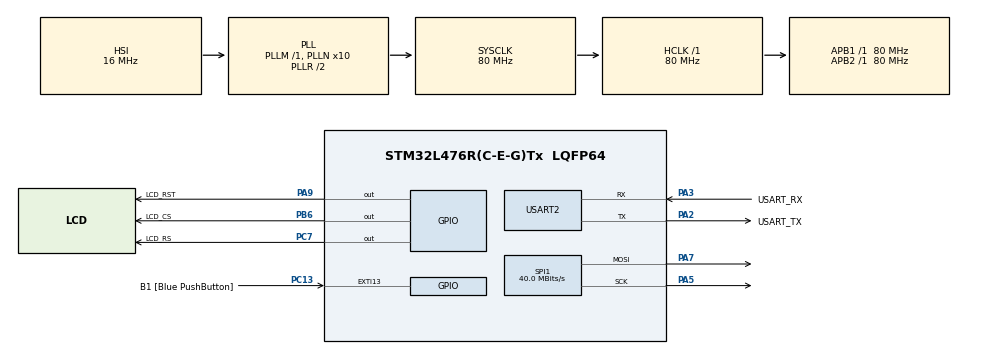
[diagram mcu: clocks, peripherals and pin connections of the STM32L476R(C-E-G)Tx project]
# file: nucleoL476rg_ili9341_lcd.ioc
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Mcu.Family=STM32L4
Mcu.Name=STM32L476R(C-E-G)Tx
Mcu.Package=LQFP64
NVIC.PriorityGroup=NVIC_PRIORITYGROUP_4
NVIC.SPI1_IRQn=true\:0\:0\:false\:false\:true\:true\:true\:true
PA13\ (JTMS-SWDIO).GPIO_Label=TMS
PA13\ (JTMS-SWDIO).Mode=Serial_Wire
PA13\ (JTMS-SWDIO).Signal=SYS_JTMS-SWDIO
PA14\ (JTCK-SWCLK).GPIO_Label=TCK
PA14\ (JTCK-SWCLK).Mode=Serial_Wire
PA14\ (JTCK-SWCLK).Signal=SYS_JTCK-SWCLK
PA2.GPIO_Label=USART_TX
PA2.GPIO_Mode=GPIO_MODE_AF_PP
PA2.GPIO_PuPd=GPIO_NOPULL
PA2.GPIO_Speed=GPIO_SPEED_FREQ_VERY_HIGH
PA2.Mode=Asynchronous
PA2.Signal=USART2_TX
PA3.GPIO_Label=USART_RX
PA3.GPIO_Mode=GPIO_MODE_AF_PP
PA3.GPIO_PuPd=GPIO_NOPULL
PA3.GPIO_Speed=GPIO_SPEED_FREQ_VERY_HIGH
PA3.Mode=Asynchronous
PA3.Signal=USART2_RX
PA5.Mode=TX_Only_Simplex_Unidirect_Master
PA5.Signal=SPI1_SCK
PA7.Mode=TX_Only_Simplex_Unidirect_Master
PA7.Signal=SPI1_MOSI
PA9.GPIO_Label=LCD_RST
PA9.GPIO_PuPd=GPIO_PULLUP
PA9.Signal=GPIO_Output
PB3\ (JTDO-TRACESWO).GPIO_Label=SWO
PB3\ (JTDO-TRACESWO).Signal=SYS_JTDO-SWO
PB6.GPIO_Label=LCD_CS
PB6.GPIO_PuPd=GPIO_PULLUP
PB6.Signal=GPIO_Output
PC13.GPIO_Label=B1 [Blue PushButton]
PC13.GPIO_ModeDefaultEXTI=GPIO_MODE_IT_FALLING
PC13.GPIO_PuPd=GPIO_NOPULL
PC13.Signal=GPXTI13
PC14-OSC32_IN\ (PC14).Mode=LSE-External-Oscillator
PC14-OSC32_IN\ (PC14).Signal=RCC_OSC32_IN
PC15-OSC32_OUT\ (PC15).Mode=LSE-External-Oscillator
PC15-OSC32_OUT\ (PC15).Signal=RCC_OSC32_OUT
PC7.GPIO_Label=LCD_RS
PC7.GPIO_PuPd=GPIO_PULLUP
PC7.Signal=GPIO_Output
PH0-OSC_IN\ (PH0).Signal=RCC_OSC_IN
PH1-OSC_OUT\ (PH1).Signal=RCC_OSC_OUT
ProjectManager.HeapSize=0x200
ProjectManager.StackSize=0x400
ProjectManager.TargetToolchain=STM32CubeIDE
RCC.ADCFreq_Value=64000000
RCC.AHBFreq_Value=80000000
RCC.APB1Freq_Value=80000000
RCC.APB1TimFreq_Value=80000000
RCC.APB2Freq_Value=80000000
RCC.APB2TimFreq_Value=80000000
RCC.CortexFreq_Value=80000000
RCC.HCLKFreq_Value=80000000
RCC.HSE_VALUE=8000000
RCC.HSI_VALUE=16000000
RCC.MSI_VALUE=4000000
RCC.PLLN=10
RCC.PLLSourceVirtual=RCC_PLLSOURCE_HSI
RCC.PREFETCH_ENABLE=1
RCC.SYSCLKFreq_VALUE=80000000
RCC.SYSCLKSource=RCC_SYSCLKSOURCE_PLLCLK
RCC.USBFreq_Value=64000000
RCC.VCOOutputFreq_Value=160000000
SPI1.BaudRatePrescaler=SPI_BAUDRATEPRESCALER_2
SPI1.CalculateBaudRate=40.0 MBits/s
SPI1.DataSize=SPI_DATASIZE_8BIT
SPI1.Direction=SPI_DIRECTION_2LINES
SPI1.Mode=SPI_MODE_MASTER
SPI1.NSSPMode=SPI_NSS_PULSE_ENABLE
SPI1.VirtualType=VM_MASTER
USART2.VirtualMode-Asynchronous=VM_ASYNC
board=NUCLEO-L476RG

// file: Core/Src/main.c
/* USER CODE BEGIN Header */
/**
  ******************************************************************************
  * @file           : main.c
  * @brief          : Main program body
  ******************************************************************************
  * @attention
  *
  * Copyright (c) 2023 STMicroelectronics.
  * All rights reserved.
  *
  * This software is licensed under terms that can be found in the LICENSE file
  * in the root directory of this software component.
  * If no LICENSE file comes with this software, it is provided AS-IS.
  *
  ******************************************************************************
  */
/* USER CODE END Header */
#include "main.h"
#include "spi.h"
#include "usart.h"
#include "gpio.h"

/* USER CODE BEGIN Includes */
#include "ili9341_stm32_driver.h"
#include "ili9341_gfx.h"
#include "snow_tiger.h"
/* USER CODE END Includes */

/* USER CODE BEGIN PV */

//SPI_HandleTypeDef hspi1;
//DMA_HandleTypeDef hdma_spi1_tx;
/* USER CODE END PV */

void SystemClock_Config(void);

int main(void)
{

  /* MCU Configuration--------------------------------------------------------*/

  /* Reset of all peripherals, Initializes the Flash interface and the Systick. */
  HAL_Init();

  /* Configure the system clock */
  SystemClock_Config();

  /* Initialize all configured peripherals */
  MX_GPIO_Init();
  MX_USART2_UART_Init();
  MX_SPI1_Init();
  /* USER CODE BEGIN 2 */
  ILI9341_Init();
  /* USER CODE END 2 */

  /* Infinite loop */
  while (1)
  {

    /* USER CODE BEGIN 3 */

		/* IMAGE EXAMPLE */
		ILI9341_FillScreen(WHITE);
		ILI9341_SetRotation(SCREEN_HORIZONTAL_2);
		fillRoundRect(10,10,100,100,20,BLUE);
		drawRoundRect(13,13,94,94,20,WHITE);

		while(1);

		ILI9341_DrawText("RGB Picture", FONT3, 10, 10, RED, YELLOW);
		ILI9341_DrawText("TIGER", FONT3, 10, 30, BLACK, WHITE);
		HAL_Delay(2000);
		ILI9341_DrawImage(gui_menu, SCREEN_VERTICAL_2);
		ILI9341_SetRotation(SCREEN_VERTICAL_1);
		HAL_Delay(5000);

	  		static uint16_t x = 0;
	  		static uint16_t y = 0;
	  		static char BufferText[40];

	  		ILI9341_FillScreen(WHITE);
	  		ILI9341_SetRotation(SCREEN_HORIZONTAL_2);
	  		ILI9341_DrawText("Counting multiple segments at once", FONT2, 10, 10, BLACK, WHITE);
	  		HAL_Delay(2000);
	  		ILI9341_FillScreen(WHITE);

	  		for(uint16_t i = 0; i <= 10; i++)
	  		{
	  			sprintf(BufferText, "Counting: %d", i);
	  			ILI9341_DrawText(BufferText, FONT3, 10, 10, BLACK, WHITE);
	  			ILI9341_DrawText(BufferText, FONT3, 10, 30, BLUE, WHITE);
	  			ILI9341_DrawText(BufferText, FONT3, 10, 50, RED, WHITE);
	  			ILI9341_DrawText(BufferText, FONT3, 10, 70, GREEN, WHITE);
	  			ILI9341_DrawText(BufferText, FONT3, 10, 90, BLACK, WHITE);
	  			ILI9341_DrawText(BufferText, FONT3, 10, 110, BLUE, WHITE);
	  			ILI9341_DrawText(BufferText, FONT3, 10, 130, RED, WHITE);
	  			ILI9341_DrawText(BufferText, FONT3, 10, 150, GREEN, WHITE);
	  			ILI9341_DrawText(BufferText, FONT3, 10, 170, WHITE, BLACK);
	  			ILI9341_DrawText(BufferText, FONT3, 10, 190, BLUE, BLACK);
	  			ILI9341_DrawText(BufferText, FONT3, 10, 210, RED, BLACK);
	  		}
	  		HAL_Delay(1000);

	  		/* COUNTING SINGLE SEGMENT */
	  		ILI9341_FillScreen(WHITE);
	  		ILI9341_SetRotation(SCREEN_HORIZONTAL_2);
	  		ILI9341_DrawText("Counting single segment", FONT3, 10, 10, BLACK, WHITE);
	  		HAL_Delay(2000);
	  		ILI9341_FillScreen(WHITE);

	  		for(uint16_t i = 0; i <= 100; i++)
	  		{
	  			sprintf(BufferText, "Counting: %d", i);
	  			ILI9341_DrawText(BufferText, FONT4, 10, 10, BLACK, WHITE);
	  			HAL_Delay(10);
	  		}
	  		HAL_Delay(1000);

	  		/* ALIGNMENT TEST */
	  		ILI9341_FillScreen(WHITE);
	  		ILI9341_SetRotation(SCREEN_HORIZONTAL_2);
	  		ILI9341_DrawText("Rectangle alignment check", FONT3, 10, 10, BLACK, WHITE);
	  		HAL_Delay(2000);

	  		ILI9341_FillScreen(WHITE);
	  		ILI9341_DrawHollowRectangleCoord(50, 50, 100, 100, BLACK);
	  		ILI9341_DrawFilledRectangleCoord(20, 20, 50, 50, BLACK);
	  		ILI9341_DrawHollowRectangleCoord(10, 10, 19, 19, BLACK);
	  		HAL_Delay(1000);

	  		/* INDIVIDUAL PIXEL EXAMPLE */
	  		ILI9341_FillScreen(WHITE);
	  		ILI9341_SetRotation(SCREEN_HORIZONTAL_2);
	  		ILI9341_DrawText("Slow draw by selecting", FONT3, 10, 10, BLACK, WHITE);
	  		ILI9341_DrawText("and adressing pixels", FONT3, 10, 30, BLACK, WHITE);
	  		HAL_Delay(2000);
	  		ILI9341_FillScreen(WHITE);

	  		x = 0;
	  		y = 0;

	  		while (y < ILI9341_SCREEN_HEIGHT)
	  		{
	  			while ((x < ILI9341_SCREEN_WIDTH) && (y < ILI9341_SCREEN_HEIGHT))
	  			{
	  				if(x % 2)
	  				{
	  					ILI9341_DrawPixel(x, y, BLACK);
	  				}
	  				x++;
	  			}
	  			y++;
	  			x = 0;
	  		}

	  		x = 0;
	  		y = 0;

	  		while (y < ILI9341_SCREEN_HEIGHT)
	  		{
	  			while ((x < ILI9341_SCREEN_WIDTH) && (y < ILI9341_SCREEN_HEIGHT))
	  			{
	  				if(y % 2)
	  				{
	  					ILI9341_DrawPixel(x, y, BLACK);
	  				}
	  				x++;
	  			}
	  			y++;
	  			x = 0;
	  		}

	  		HAL_Delay(2000);

	  		/* 565 GRAYSCALE EXAMPLE */
	  		ILI9341_FillScreen(WHITE);
	  		ILI9341_SetRotation(SCREEN_HORIZONTAL_2);
	  		ILI9341_DrawText("Color gradient", FONT3, 10, 10, BLACK, WHITE);
	  		ILI9341_DrawText("Grayscale", FONT3, 10, 30, BLACK, WHITE);
	  		HAL_Delay(2000);

	  		for(uint16_t i = 0; i <= ILI9341_SCREEN_WIDTH; i++)
	  		{
	  			uint16_t Red = 0;
	  			uint16_t Green = 0;
	  			uint16_t Blue = 0;

	  			Red = i/(10);
	  			Red <<= 11;
	  			Green = i/(5);
	  			Green <<= 5;
	  			Blue = i/(10);

	  			uint16_t RGB = Red + Green + Blue;
	  			ILI9341_DrawRectangle(i, x, 1, 240, RGB);

	  		}
	  		HAL_Delay(2000);

	  		// Horizontal Line (X, Y, Length, Color)
	  		  ILI9341_FillScreen(WHITE);
	  		  ILI9341_DrawHLine(50, 120, 200, NAVY);
	  		  HAL_Delay(1000);

	  		  // Vertical Line (X, Y, Length, Color)
	  		  ILI9341_FillScreen(WHITE);
	  		  ILI9341_DrawVLine(160, 40, 150, DARKGREEN);
	  		  HAL_Delay(1000);

	  		  // Hollow Circle (Centre X, Centre Y, Radius, Color)
	  		  ILI9341_FillScreen(WHITE);
	  		  ILI9341_DrawHollowCircle(160, 120, 80, PINK);
	  		  HAL_Delay(1000);

	  		  // Filled Circle (Centre X, Centre Y, Radius, Color)
	  		  ILI9341_FillScreen(WHITE);
	  		  ILI9341_DrawFilledCircle(160, 120, 50, CYAN);
	  		  HAL_Delay(1000);

	  		  // Filled Rectangle (Start X, Start Y, Length X, Length Y)
	  		  ILI9341_FillScreen(WHITE);
	  		  ILI9341_DrawRectangle(50, 50, 220, 140, GREENYELLOW);
	  		  HAL_Delay(1000);

	  		  // Hollow Rectangle (Start X, Start Y, End X, End Y)
	  		  ILI9341_FillScreen(WHITE);
	  		  ILI9341_DrawHollowRectangleCoord(50, 50, 270, 190, DARKCYAN);
	  		  HAL_Delay(1000);

	  		  // Simple Pixel Only (X, Y, Color)
	  		  ILI9341_FillScreen(WHITE);
	  		  ILI9341_DrawPixel(100, 100, BLACK);
	  		  HAL_Delay(1000);

  }
  /* USER CODE END 3 */
}

void SystemClock_Config(void)
{
  RCC_OscInitTypeDef RCC_OscInitStruct = {0};
  RCC_ClkInitTypeDef RCC_ClkInitStruct = {0};

  /** Configure the main internal regulator output voltage
  */
  if (HAL_PWREx_ControlVoltageScaling(PWR_REGULATOR_VOLTAGE_SCALE1) != HAL_OK)
  {
    Error_Handler();
  }

  /** Initializes the RCC Oscillators according to the specified parameters
  * in the RCC_OscInitTypeDef structure.
  */
  RCC_OscInitStruct.OscillatorType = RCC_OSCILLATORTYPE_HSI;
  RCC_OscInitStruct.HSIState = RCC_HSI_ON;
  RCC_OscInitStruct.HSICalibrationValue = RCC_HSICALIBRATION_DEFAULT;
  RCC_OscInitStruct.PLL.PLLState = RCC_PLL_ON;
  RCC_OscInitStruct.PLL.PLLSource = RCC_PLLSOURCE_HSI;
  RCC_OscInitStruct.PLL.PLLM = 1;
  RCC_OscInitStruct.PLL.PLLN = 10;
  RCC_OscInitStruct.PLL.PLLP = RCC_PLLP_DIV7;
  RCC_OscInitStruct.PLL.PLLQ = RCC_PLLQ_DIV2;
  RCC_OscInitStruct.PLL.PLLR = RCC_PLLR_DIV2;
  if (HAL_RCC_OscConfig(&RCC_OscInitStruct) != HAL_OK)
  {
    Error_Handler();
  }

  /** Initializes the CPU, AHB and APB buses clocks
  */
  RCC_ClkInitStruct.ClockType = RCC_CLOCKTYPE_HCLK|RCC_CLOCKTYPE_SYSCLK
                              |RCC_CLOCKTYPE_PCLK1|RCC_CLOCKTYPE_PCLK2;
  RCC_ClkInitStruct.SYSCLKSource = RCC_SYSCLKSOURCE_PLLCLK;
  RCC_ClkInitStruct.AHBCLKDivider = RCC_SYSCLK_DIV1;
  RCC_ClkInitStruct.APB1CLKDivider = RCC_HCLK_DIV1;
  RCC_ClkInitStruct.APB2CLKDivider = RCC_HCLK_DIV1;

  if (HAL_RCC_ClockConfig(&RCC_ClkInitStruct, FLASH_LATENCY_4) != HAL_OK)
  {
    Error_Handler();
  }
}

void Error_Handler(void)
{
  __disable_irq();
  while (1)
  {
  }
}
